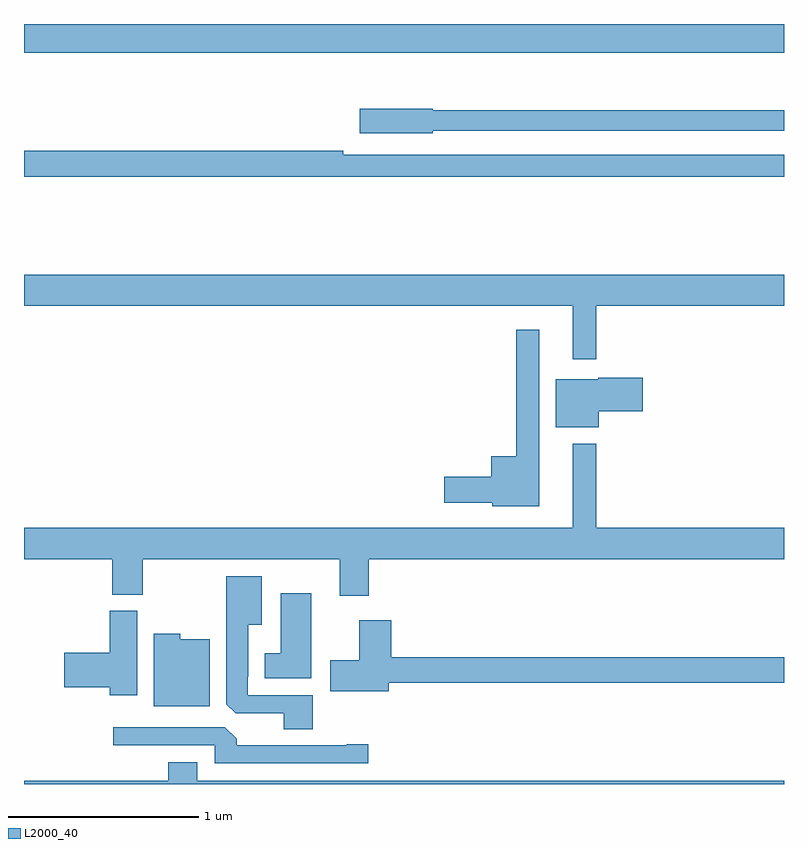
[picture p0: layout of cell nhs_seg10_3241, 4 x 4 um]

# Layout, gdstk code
import gdstk
lib = gdstk.Library(unit=1e-6, precision=1e-09)
def R(c, l, rs):  # rectangles x0, y0, x1, y1
    for r in rs: c.add(gdstk.rectangle(r[:2], r[2:], *l))
def P(c, l, *ps):  # polygons
    for p in ps: c.add(gdstk.Polygon(p, *l))
L2000_40 = (2000, 40)

nhs_seg10_3241 = lib.new_cell('nhs_seg10_3241')
R(nhs_seg10_3241, L2000_40, [(287,1268.348,291,1268.5)])
P(nhs_seg10_3241, L2000_40, [(289.152,1267.938),(291,1267.938),(291,1268.047),(289.152,1268.047),(289.152,1268.055),(288.768,1268.055),(288.768,1267.925),(289.152,1267.925)],
  [(291,1267.812),(288.68,1267.812),(288.68,1267.832),(287,1267.832),(287,1267.696),(291,1267.696)],
  [(290.011,1267.016),(291,1267.016),(291,1267.18),(287,1267.18),(287,1267.016),(289.889,1267.016),(289.889,1266.735),(290.011,1266.735)],
  [(289.711,1266.892),(289.59,1266.892),(289.59,1266.226),(289.46,1266.226),(289.46,1266.116),(289.212,1266.116),(289.212,1265.981),(289.464,1265.981),(289.464,1265.963),(289.711,1265.963)],
  [(290.026,1266.461),(290.257,1266.461),(290.257,1266.639),(290.022,1266.639),(290.022,1266.631),(289.799,1266.631),(289.799,1266.377),(290.026,1266.377)],
  [(288.815,1265.684),(291,1265.684),(291,1265.848),(290.011,1265.848),(290.011,1266.292),(289.889,1266.292),(289.889,1265.848),(287,1265.848),(287,1265.684),(287.465,1265.684),(287.465,1265.497),(287.625,1265.497),(287.625,1265.684),(288.662,1265.684),(288.662,1265.49),(288.815,1265.49)],
  [(288.521,1264.968),(288.177,1264.968),(288.177,1265.065),(288.181,1265.065),(288.181,1265.339),(288.25,1265.339),(288.25,1265.593),(288.065,1265.593),(288.065,1264.921),(288.114,1264.872),(288.368,1264.872),(288.368,1264.789),(288.521,1264.789)],
  [(288.511,1265.503),(288.35,1265.503),(288.35,1265.188),(288.266,1265.188),(288.266,1265.057),(288.511,1265.057)],
  [(287.596,1265.412),(287.45,1265.412),(287.45,1265.192),(287.211,1265.192),(287.211,1265.009),(287.45,1265.009),(287.45,1264.968),(287.596,1264.968)],
  [(288.919,1265.032),(291,1265.032),(291,1265.168),(288.932,1265.168),(288.932,1265.362),(288.764,1265.362),(288.764,1265.151),(288.612,1265.151),(288.612,1264.988),(288.919,1264.988)],
  [(287.977,1265.263),(287.823,1265.263),(287.823,1265.29),(287.684,1265.29),(287.684,1264.91),(287.977,1264.91)],
  [(288.811,1264.709),(288.698,1264.709),(288.698,1264.704),(288.119,1264.704),(288.119,1264.738),(288.057,1264.8),(287.469,1264.8),(287.469,1264.704),(288.003,1264.704),(288.003,1264.608),(288.811,1264.608)],
  [(291,1264.516),(287.911,1264.516),(287.911,1264.615),(287.759,1264.615),(287.759,1264.516),(287,1264.516),(287,1264.5),(291,1264.5)])

lib.write_gds('nhs_seg10_3241.gds')
